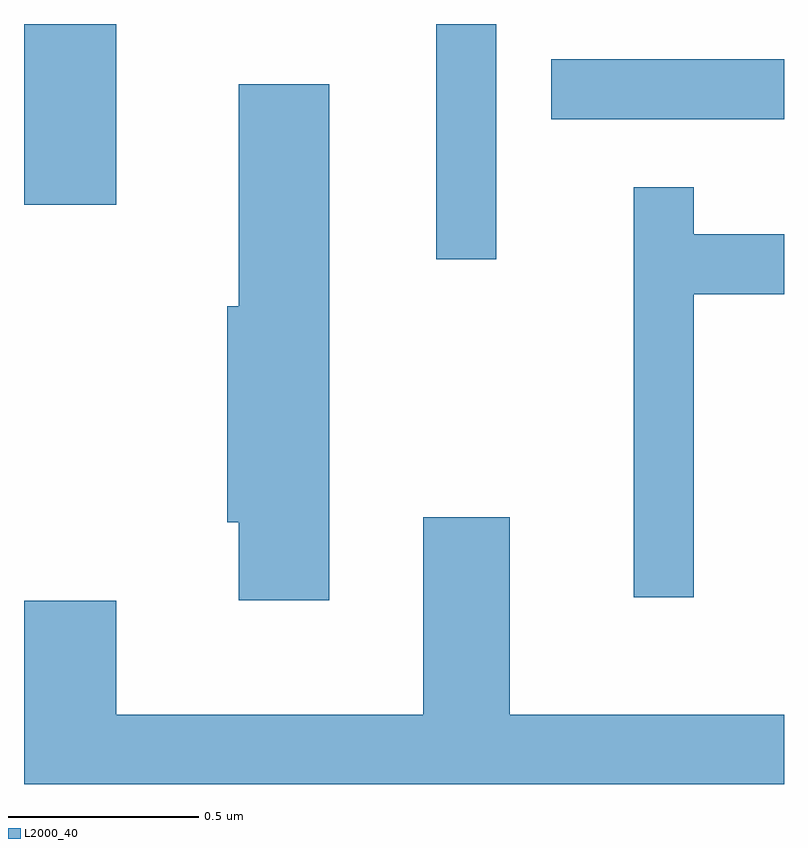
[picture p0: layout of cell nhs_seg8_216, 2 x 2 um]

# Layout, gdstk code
import gdstk
lib = gdstk.Library(unit=1e-6, precision=1e-09)
def R(c, l, rs):  # rectangles x0, y0, x1, y1
    for r in rs: c.add(gdstk.rectangle(r[:2], r[2:], *l))
def P(c, l, *ps):  # polygons
    for p in ps: c.add(gdstk.Polygon(p, *l))
L2000_40 = (2000, 40)

nhs_seg8_216 = lib.new_cell('nhs_seg8_216')
R(nhs_seg8_216, L2000_40, [(187.696,1886.723,187.854,1887.342), (186.611,1886.866,186.854,1887.342), (187.998,1887.091,188.611,1887.249)])
P(nhs_seg8_216, L2000_40, [(187.414,1887.184),(187.176,1887.184),(187.176,1886.599),(187.146,1886.599),(187.146,1886.031),(187.176,1886.031),(187.176,1885.826),(187.414,1885.826)],
  [(188.374,1886.631),(188.611,1886.631),(188.611,1886.789),(188.374,1886.789),(188.374,1886.913),(188.216,1886.913),(188.216,1885.833),(188.374,1885.833)],
  [(188.611,1885.524),(187.889,1885.524),(187.889,1886.044),(187.661,1886.044),(187.661,1885.524),(186.854,1885.524),(186.854,1885.824),(186.611,1885.824),(186.611,1885.342),(188.611,1885.342)])

lib.write_gds('nhs_seg8_216.gds')
